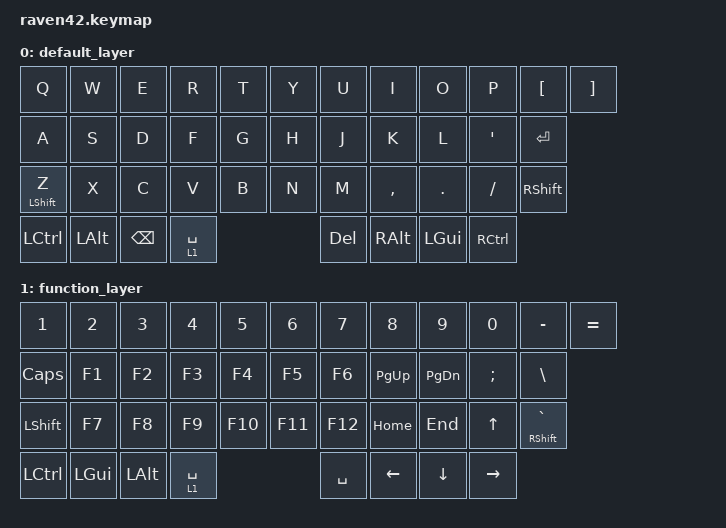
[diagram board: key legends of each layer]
/*
 * Copyright (c) 2020 The ZMK Contributors
 *
 * SPDX-License-Identifier: MIT
 */

#include <behaviors.dtsi>
#include <dt-bindings/zmk/keys.h>

/ {
    behaviors {
        ht: hold_tap {
            compatible = "zmk,behavior-hold-tap";
            #binding-cells = <2>;
            tapping-term-ms = <200>;
            flavor = "tap-preferred";
            bindings = <&kp>, <&kp>;
        };
    };

    combos {
        compatible = "zmk,combos";

        esc {
            bindings = <&kp ESCAPE>;
            key-positions = <0 1>;
            layers = <0>;
        };

        tab {
            bindings = <&kp TAB>;
            key-positions = <12 13>;
            layers = <0>;
        };

        reset {
            bindings = <&sys_reset>;
            key-positions = <0 34 41 11>;
        };
    };

    keymap {
        compatible = "zmk,keymap";

        default_layer {
            bindings = <
&kp Q             &kp W     &kp E  &kp R     &kp T        &kp Y              &kp U  &kp I      &kp O     &kp P      &kp LEFT_BRACKET  &kp RIGHT_BRACKET
&kp A             &kp S     &kp D  &kp F     &kp G        &kp H              &kp J  &kp K      &kp L     &kp APOS   &kp RET
&mt LEFT_SHIFT Z  &kp X     &kp C  &kp V     &kp B        &kp N              &kp M  &kp COMMA  &kp DOT   &kp FSLH   &kp RSHFT
&kp LCTRL         &kp LALT         &kp BSPC  &lt 1 SPACE         &kp DELETE         &kp RALT   &kp LGUI  &kp RCTRL
            >;
        };

        function_layer {
            bindings = <
&kp N1     &kp N2    &kp N3  &kp N4    &kp N5       &kp N6              &kp N7   &kp N8     &kp N9     &kp N0     &kp MINUS              &kp EQUAL
&kp CAPS   &kp F1    &kp F2  &kp F3    &kp F4       &kp F5              &kp F6   &kp PG_UP  &kp PG_DN  &kp SEMI   &kp BSLH
&kp LSHFT  &kp F7    &kp F8  &kp F9    &kp F10      &kp F11             &kp F12  &kp HOME   &kp END    &kp UP     &mt RIGHT_SHIFT GRAVE
&kp LCTRL  &kp LGUI          &kp LALT  &lt 1 SPACE           &kp SPACE           &kp LEFT   &kp DOWN   &kp RIGHT
            >;
        };
    };
};
